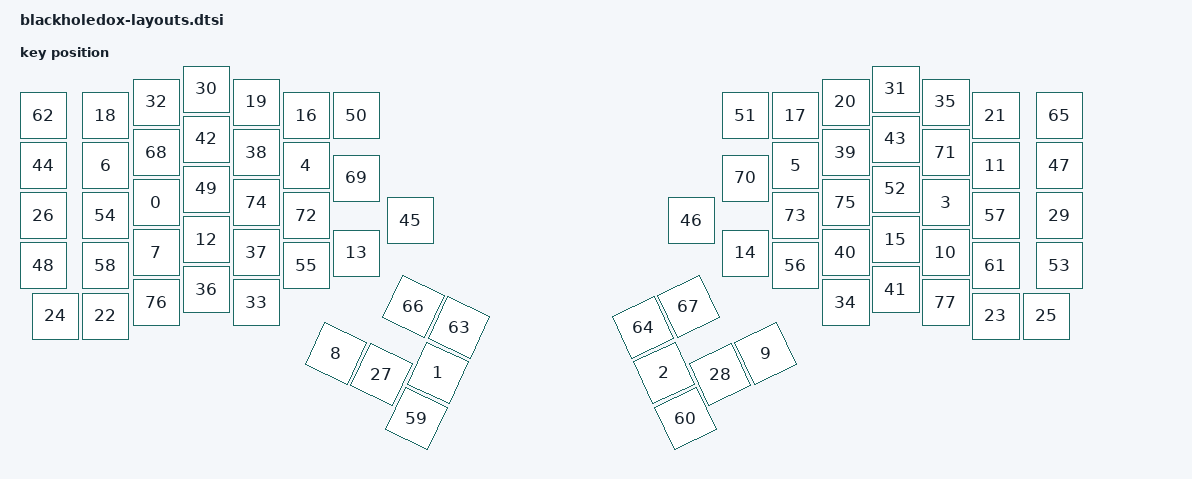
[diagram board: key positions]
// See https://zmk.dev/docs/development/hardware-integration/physical-layouts
// for how to configure this.

#include <physical_layouts.dtsi>

/ {
    default_layout: default_layout {
        compatible = "zmk,physical-layout";
        display-name = "Default Layout";
        transform = <&default_transform>;
        kscan = <&kscan>;

        // Edit this to define the positions and sizes of the keys, or remove it
        // if your keyboard will not support ZMK Studio.
        // https://zmk.dev/docs/development/hardware-integration/physical-layouts#optional-keys-property
        keys  //                     w   h    x    y     rot    rx    ry
            = <&key_physical_attrs 100 100  226  227       0     0     0>
            , <&key_physical_attrs 100 100  790  568    2500   840   618>
            , <&key_physical_attrs 100 100 1242  568 (-2500)  1292   618>
            , <&key_physical_attrs 100 100 1806  227       0     0     0>
            , <&key_physical_attrs 100 100  526  153       0     0     0>
            , <&key_physical_attrs 100 100 1505  153       0     0     0>
            , <&key_physical_attrs 100 100  125  153       0     0     0>
            , <&key_physical_attrs 100 100  226  327       0     0     0>
            , <&key_physical_attrs 100 100  586  529    2500   636   579>
            , <&key_physical_attrs 100 100 1445  529 (-2500)  1495   579>
            , <&key_physical_attrs 100 100 1806  327       0     0     0>
            , <&key_physical_attrs 100 100 1906  153       0     0     0>
            , <&key_physical_attrs 100 100  326  301       0     0     0>
            , <&key_physical_attrs 100 100  627  328       0     0     0>
            , <&key_physical_attrs 100 100 1405  328       0     0     0>
            , <&key_physical_attrs 100 100 1706  301       0     0     0>
            , <&key_physical_attrs 100 100  526   53       0     0     0>
            , <&key_physical_attrs 100 100 1505   53       0     0     0>
            , <&key_physical_attrs 100 100  125   53       0     0     0>
            , <&key_physical_attrs 100 100  426   26       0     0     0>
            , <&key_physical_attrs 100 100 1606   26       0     0     0>
            , <&key_physical_attrs 100 100 1906   53       0     0     0>
            , <&key_physical_attrs 100 100  125  454       0     0     0>
            , <&key_physical_attrs 100 100 1906  454       0     0     0>
            , <&key_physical_attrs 100 100   25  454       0     0     0>
            , <&key_physical_attrs 100 100 2007  454       0     0     0>
            , <&key_physical_attrs 100 100    0  253       0     0     0>
            , <&key_physical_attrs 100 100  677  571    2500   727   621>
            , <&key_physical_attrs 100 100 1354  571 (-2500)  1404   621>
            , <&key_physical_attrs 100 100 2032  253       0     0     0>
            , <&key_physical_attrs 100 100  326    0       0     0     0>
            , <&key_physical_attrs 100 100 1706    0       0     0     0>
            , <&key_physical_attrs 100 100  226   26       0     0     0>
            , <&key_physical_attrs 100 100  426  427       0     0     0>
            , <&key_physical_attrs 100 100 1606  427       0     0     0>
            , <&key_physical_attrs 100 100 1806   26       0     0     0>
            , <&key_physical_attrs 100 100  326  401       0     0     0>
            , <&key_physical_attrs 100 100  426  327       0     0     0>
            , <&key_physical_attrs 100 100  426  127       0     0     0>
            , <&key_physical_attrs 100 100 1606  127       0     0     0>
            , <&key_physical_attrs 100 100 1606  327       0     0     0>
            , <&key_physical_attrs 100 100 1706  401       0     0     0>
            , <&key_physical_attrs 100 100  326  100       0     0     0>
            , <&key_physical_attrs 100 100 1706  100       0     0     0>
            , <&key_physical_attrs 100 100    0  153       0     0     0>
            , <&key_physical_attrs 100 100  735  263       0     0     0>
            , <&key_physical_attrs 100 100 1297  263       0     0     0>
            , <&key_physical_attrs 100 100 2032  153       0     0     0>
            , <&key_physical_attrs 100 100    0  353       0     0     0>
            , <&key_physical_attrs 100 100  326  200       0     0     0>
            , <&key_physical_attrs 100 100  627   53       0     0     0>
            , <&key_physical_attrs 100 100 1405   53       0     0     0>
            , <&key_physical_attrs 100 100 1706  200       0     0     0>
            , <&key_physical_attrs 100 100 2032  353       0     0     0>
            , <&key_physical_attrs 100 100  125  253       0     0     0>
            , <&key_physical_attrs 100 100  526  353       0     0     0>
            , <&key_physical_attrs 100 100 1505  353       0     0     0>
            , <&key_physical_attrs 100 100 1906  253       0     0     0>
            , <&key_physical_attrs 100 100  125  353       0     0     0>
            , <&key_physical_attrs 100 100  747  659    2500   797   709>
            , <&key_physical_attrs 100 100 1285  659 (-2500)  1335   709>
            , <&key_physical_attrs 100 100 1906  353       0     0     0>
            , <&key_physical_attrs 100 100    0   53       0     0     0>
            , <&key_physical_attrs 100 100  832  477    2500   882   527>
            , <&key_physical_attrs 100 100 1200  477 (-2500)  1250   527>
            , <&key_physical_attrs 100 100 2032   53       0     0     0>
            , <&key_physical_attrs 100 100  741  435    2500   791   485>
            , <&key_physical_attrs 100 100 1291  435 (-2500)  1341   485>
            , <&key_physical_attrs 100 100  226  127       0     0     0>
            , <&key_physical_attrs 100 100  627  178       0     0     0>
            , <&key_physical_attrs 100 100 1405  178       0     0     0>
            , <&key_physical_attrs 100 100 1806  127       0     0     0>
            , <&key_physical_attrs 100 100  526  253       0     0     0>
            , <&key_physical_attrs 100 100 1505  253       0     0     0>
            , <&key_physical_attrs 100 100  426  227       0     0     0>
            , <&key_physical_attrs 100 100 1606  227       0     0     0>
            , <&key_physical_attrs 100 100  226  427       0     0     0>
            , <&key_physical_attrs 100 100 1806  427       0     0     0>
            ;
    };
};
